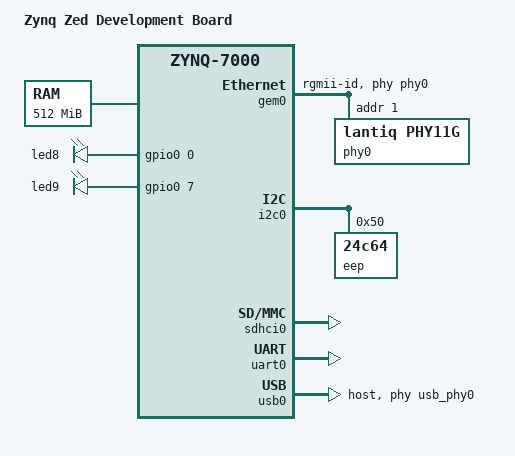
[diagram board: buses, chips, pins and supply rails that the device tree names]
/*
 *  Copyright (C) 2011 - 2014 Xilinx
 *  Copyright (C) 2012 National Instruments Corp.
 *
 * This software is licensed under the terms of the GNU General Public
 * License version 2, as published by the Free Software Foundation, and
 * may be copied, distributed, and modified under those terms.
 *
 * This program is distributed in the hope that it will be useful,
 * but WITHOUT ANY WARRANTY; without even the implied warranty of
 * MERCHANTABILITY or FITNESS FOR A PARTICULAR PURPOSE.  See the
 * GNU General Public License for more details.
 */
/dts-v1/;
/include/ "zynq-7000.dtsi"

/ {
	model = "Zynq Zed Development Board";
	compatible = "xlnx,zynq-zed", "xlnx,zynq-7000";

	aliases {
		ethernet0 = &gem0;
		serial0 = &uart0;
		i2c0 = &i2c0;
	};

	memory {
		device_type = "memory";
		reg = <0x0 0x20000000>;
	};

	chosen {
		bootargs = "console=ttyPS0,115200 root=/dev/ram rw earlyprintk";
		linux,stdout-path = &uart0;
		stdout-path = &uart0;
	};

	usb_phy0: phy0 {
		compatible = "ulpi-phy";
		#phy-cells = <0>;
		reg = <0xe0002000 0x1000>;
		view-port = <0x0170>;
		drv-vbus;
	};

	gpio-leds {
		compatible = "gpio-leds";
		led-8-yellow {
			label = "led8";
			gpios = <&gpio0 0 0>;
			default-state = "off";
			linux,default-trigger = "mmc0";
		};
		led-9-red {
			label = "led9";
			gpios = <&gpio0 7 0>;
			default-state = "off";
			linux,default-trigger = "heartbeat";
		};
	};

	dt_overlay {
		compatible = "dt_overlay";
	};

	dmacopy0: dmacopy@0 {
		compatible = "foo,dmacopy-0.1";
		label = "dmacopy0";
		reg = < 0x40400000 0x0000FFFF >,
				<0x43C00000 0x0000FFFF>;
		interrupt-parent = <&intc>;
		interrupts = <0 59 4>; /* 1 */
		dma0_base = <0x40400000>;
	};

};

&clkc {
	ps-clk-frequency = <33333333>;
};

&gem0 {
	phy-mode = "rgmii-id";
	phy-handle = <&phy0>;
	status = "okay";

	phy0: phy@7 {
		compatible = "lantiq,phy11g";
		device_type = "ethernet-phy";
		reg = <1>;
	};
};

&i2c0 {
	status = "okay";

	eep@50 {
		compatible = "24c64";
		reg = <0x50>;
	};

	/*hwmon@40 {
		compatible = "htu21";
		reg = <0x40>;
	};*/
};

&sdhci0 {
	status = "okay";
};

&uart0 {
	status = "okay";
};

&usb0 {
	dr_mode = "host";
	usb-phy = <&usb_phy0>;
	status = "okay";
};
